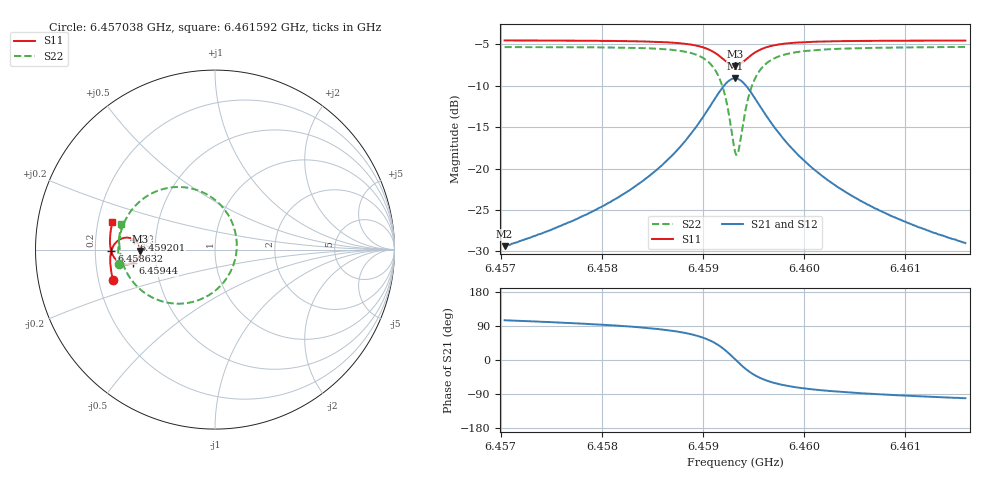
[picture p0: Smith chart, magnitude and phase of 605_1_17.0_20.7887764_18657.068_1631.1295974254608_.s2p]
#  HZ  S  RI  R  50.00
! Rohde & Schwarz Vector Network Analyzer
! Rohde-Schwarz,ZNB20-2Port,1311601062101988,3.16
! Created: UTC 3/20/2024, 11:19:11 PM
! freq[Hz]  re:S11  im:S11  re:S21  im:S21  re:S12  im:S12  re:S22  im:S22
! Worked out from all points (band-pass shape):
!   401 points, 6.457038 GHz to 6.461592 GHz, reference 50 ohm
!   highest |S21| = -9.12 dB at 6.459315 GHz (marker M1); lowest = -29.4 dB at 6.457038 GHz (marker M2)
!   |S21| within 3 dB of the highest: 6.459088 GHz to 6.459543 GHz (455.1 kHz wide, 0.00704 % of centre)
!   lowest |S11| = -7.6 dB at 6.459315 GHz (marker M3), VSWR 2.42, Z = 20.6 - j0.4 ohm
!   |S11| at or under -10 dB: nowhere
!   |S22| runs from -18.4 to -5.3 dB; largest |S21 - S12| = 0.014
!   S11 on the Smith chart (normalised r, x): 6.457038 GHz: 0.26, -0.13; 6.458632 GHz: 0.27, -0.01; 6.459201 GHz: 0.38, +0.05; 6.45944 GHz: 0.37, -0.07; 6.461592 GHz: 0.26, +0.12
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6.4570382e9  -0.5679 -0.1675  -0.0088 0.0329  -0.00703 0.0328  -0.5341 -0.0793
6.457801e9  -0.5814 -0.1006  -0.00536 0.0511  -0.0027 0.0504  -0.5387 0.0109
6.4582678e9  -0.5839 -0.053  0.00189 0.0735  0.00548 0.0721  -0.5277 0.0872
6.4585638e9  -0.5798 -0.017  0.015 0.0998  0.019 0.097  -0.5034 0.1564
6.4586321e9  -0.5775 -0.00753  0.0204 0.1082  0.0246 0.1049  -0.4931 0.1763
6.4588256e9  -0.5647 0.023  0.0474 0.1393  0.0515 0.1343  -0.4424 0.2459
6.4589736e9  -0.5417 0.0492  0.0932 0.1699  0.0965 0.1632  -0.3577 0.3106
6.4591102e9  -0.4972 0.0667  0.1815 0.1865  0.1824 0.1789  -0.1961 0.3486
6.4592013e9  -0.4522 0.056  0.2725 0.1545  0.2727 0.1486  -0.0275 0.2968
6.4592696e9  -0.4229 0.0234  0.3335 0.0815  0.3358 0.0761  0.0892 0.165
6.4593152e9  -0.416 -0.00802  0.3498 0.0126  0.3538 0.00558  0.1213 0.0359
6.4593493e9  -0.42 -0.0321  0.3436 -0.0406  0.3479 -0.0498  0.1092 -0.0653
6.4593949e9  -0.436 -0.0585  0.3145 -0.1012  0.3168 -0.1134  0.0499 -0.18
6.4594404e9  -0.4584 -0.075  0.2717 -0.1427  0.2708 -0.1562  -0.0373 -0.2557
6.4595315e9  -0.5022 -0.0819  0.1855 -0.1735  0.1791 -0.1855  -0.209 -0.3013
6.4595998e9  -0.5269 -0.0744  0.1365 -0.1714  0.1283 -0.1805  -0.3037 -0.2856
6.4596795e9  -0.5466 -0.0611  0.0966 -0.159  0.0878 -0.1654  -0.3789 -0.2501
6.4598389e9  -0.5682 -0.0333  0.0512 -0.1305  0.0435 -0.1333  -0.4598 -0.1764
6.4600779e9  -0.5809 0.00224  0.022 -0.0984  0.016 -0.0991  -0.508 -0.0928
6.4604195e9  -0.5854 0.0431  0.006 -0.0712  0.00192 -0.0708  -0.529 -0.0132
6.4608407e9  -0.5834 0.0857  -0.00166 -0.0524  -0.0046 -0.0515  -0.5331 0.0552
6.4615921e9  -0.5712 0.1524  -0.00668 -0.0349  -0.00848 -0.034  -0.5215 0.1448
